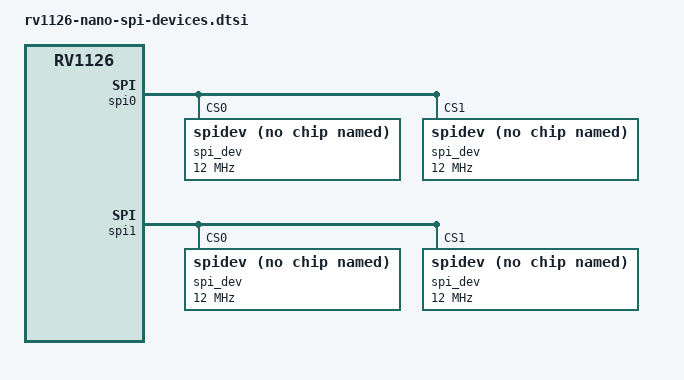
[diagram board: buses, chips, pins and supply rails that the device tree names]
// SPDX-License-Identifier: (GPL-2.0+ OR MIT)
/*
 * Guangzhou Easy EAI Technology Co., Ltd.
 *
 */

&spi0 {
	status = "okay";
	pinctrl-names = "default";
	pinctrl-0 = <&spi0m2_pins &spi0m2_cs0 &spi0m2_cs1>;

	spi_dev@0 {
		compatible = "rockchip,spidev";
		reg = <0>;
		spi-max-frequency = <12000000>;
		spi-lsb-first;
	};

	spi_dev@1 {
		compatible = "rockchip,spidev";
		reg = <1>;
		spi-max-frequency = <12000000>;
		spi-lsb-first;
	};
};

&spi1 {
	status = "okay";

	spi_dev@0 {
		compatible = "rockchip,spidev";
		reg = <0>;
		spi-max-frequency = <12000000>;
		spi-lsb-first;
	};

	spi_dev@1 {
		compatible = "rockchip,spidev";
		reg = <1>;
		spi-max-frequency = <12000000>;
		spi-lsb-first;
	};
};
